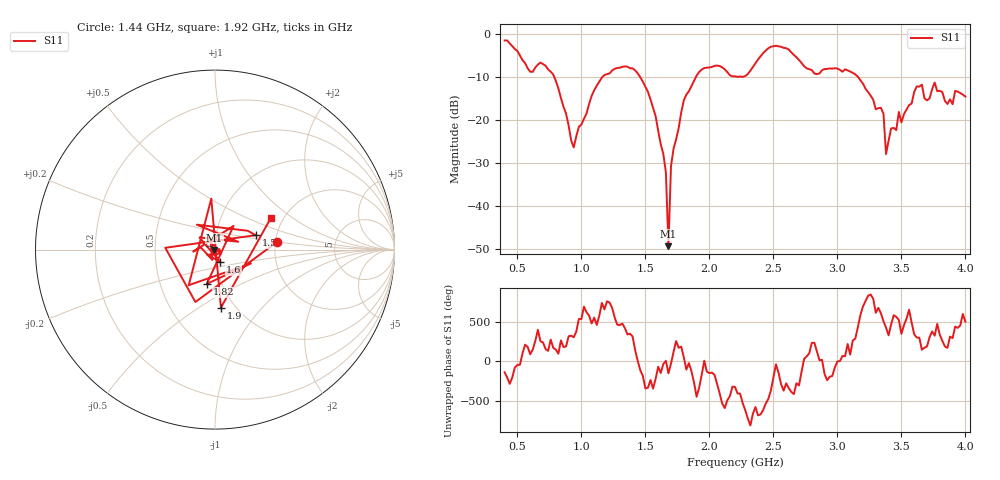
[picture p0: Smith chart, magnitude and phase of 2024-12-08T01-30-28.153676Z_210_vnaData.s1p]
!Created with skrf (http://scikit-rf.org).
# Hz S RI R 50.0
!freq ReS11 ImS11
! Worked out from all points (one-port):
!   181 points, 400 MHz to 4 GHz, reference 50 ohm
!   lowest |S11| = -49.4 dB at 1.68 GHz (marker M1), VSWR 1.01, Z = 49.7 - j0.167 ohm
!   |S11| at or under -10 dB: 786.9 MHz to 1.167 GHz (379.9 MHz wide, 38.9 % of centre); 1.457 GHz to 1.896 GHz (438.6 MHz wide, 26.2 % of centre); 3.16 GHz to end of sweep (the widest 3 of 5)
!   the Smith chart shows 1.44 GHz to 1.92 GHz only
!   S11 on the Smith chart (normalised r, x): 1.44 GHz: 2.04, +0.19; 1.5 GHz: 1.56, +0.27; 1.6 GHz: 1.05, -0.14; 1.82 GHz: 0.85, -0.34; 1.9 GHz: 0.86, -0.62; 1.92 GHz: 1.72, +0.71
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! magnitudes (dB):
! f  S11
! 400 MHz  -1.6
! 600 MHz  -8.8
! 720 MHz  -7.5
! 860 MHz  -17.0
! 940 MHz  -26.4
! 1.12 GHz  -12.1
! 1.3 GHz  -7.9
! 1.44 GHz  -9.2
! 1.5 GHz  -12.4
! 1.6 GHz  -22.6
! 1.66 GHz  -32.2
! 1.68 GHz  -49.4
! 1.7 GHz  -30.8
! 1.76 GHz  -21.9
! 1.82 GHz  -14.1
! 1.9 GHz  -9.8
! 1.92 GHz  -8.9
! 2.2 GHz  -9.9
! 2.48 GHz  -3.0
! 2.66 GHz  -4.9
! 3.1 GHz  -8.8
! 3.36 GHz  -18.6
! 3.38 GHz  -28.0
! 3.48 GHz  -18.2
! 3.56 GHz  -16.6
! 3.76 GHz  -11.3
! 3.86 GHz  -16.3
! 4 GHz  -14.6
